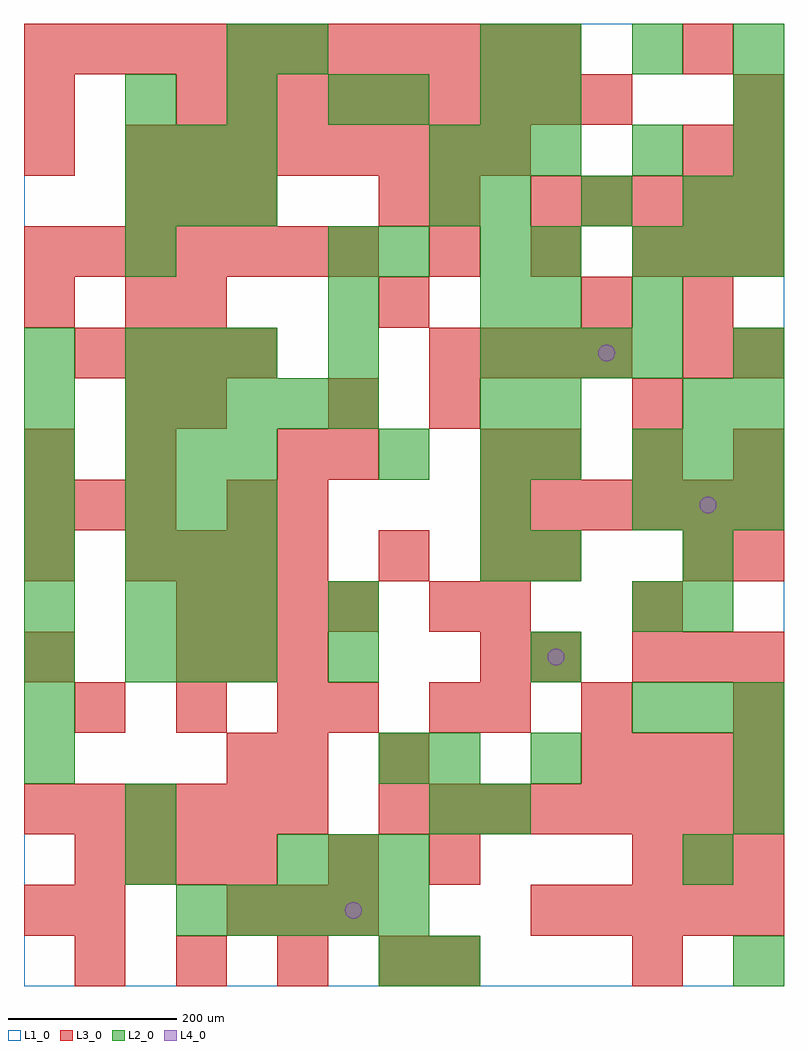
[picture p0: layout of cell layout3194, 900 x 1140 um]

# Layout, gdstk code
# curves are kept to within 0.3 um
import gdstk
lib = gdstk.Library(unit=1e-6, precision=1e-09)
def R(c, l, rs):  # rectangles x0, y0, x1, y1
    for r in rs: c.add(gdstk.rectangle(r[:2], r[2:], *l))
def A(c, l, x, y, w, h, nx, ny, dx, dy):  # array of equal rectangles
    R(c, l, [(x+i*dx, y+j*dy, x+i*dx+w, y+j*dy+h) for i in range(nx) for j in range(ny)])
def P(c, l, *ps):  # polygons
    for p in ps: c.add(gdstk.Polygon(p, *l))
L1_0 = (1, 0)
L2_0 = (2, 0)
L3_0 = (3, 0)
L4_0 = (4, 0)

layout3194 = lib.new_cell('layout3194')
R(layout3194, L1_0, [(0,0,900,1140)])
A(layout3194, L2_0, 180, 60, 60, 60, 5, 1, 60, 0)
A(layout3194, L2_0, 300, 120, 60, 60, 3, 1, 60, 0)
A(layout3194, L2_0, 0, 240, 60, 60, 1, 9, 0, 60)
A(layout3194, L2_0, 600, 240, 60, 60, 1, 4, 0, 120)
A(layout3194, L2_0, 720, 300, 60, 60, 3, 2, 60, 240)
A(layout3194, L2_0, 120, 360, 60, 60, 3, 5, 60, 60)
A(layout3194, L2_0, 540, 480, 60, 60, 1, 4, 0, 60)
A(layout3194, L2_0, 720, 600, 60, 60, 3, 2, 60, 240)
A(layout3194, L2_0, 120, 660, 60, 60, 5, 1, 60, 0)
A(layout3194, L2_0, 120, 720, 60, 60, 3, 2, 60, 180)
A(layout3194, L2_0, 360, 720, 60, 60, 1, 3, 0, 60)
A(layout3194, L2_0, 540, 720, 60, 60, 4, 1, 60, 0)
A(layout3194, L2_0, 540, 900, 60, 60, 3, 1, 120, 0)
A(layout3194, L2_0, 840, 900, 60, 60, 1, 3, 0, 60)
A(layout3194, L2_0, 120, 960, 60, 60, 3, 1, 60, 0)
A(layout3194, L2_0, 480, 960, 60, 60, 3, 1, 60, 0)
A(layout3194, L2_0, 120, 1020, 60, 60, 3, 1, 120, 0)
A(layout3194, L2_0, 600, 1080, 60, 60, 3, 1, 120, 0)
R(layout3194, L2_0, [(420,0,480,60), (480,0,540,60), (840,0,900,60), (120,120,180,180), (780,120,840,180), (120,180,180,240), (480,180,540,240), (540,180,600,240), (840,180,900,240), (420,240,480,300), (480,240,540,300), (840,240,900,300), (360,360,420,420), (360,420,420,480), (720,420,780,480), (780,420,840,480), (780,480,840,540), (420,600,480,660), (600,660,660,720), (780,660,840,720), (840,660,900,720), (840,720,900,780), (540,780,600,840), (600,780,660,840), (720,780,780,840), (120,840,180,900), (420,840,480,900), (540,840,600,900), (600,840,660,900), (480,900,540,960), (720,960,780,1020), (420,1020,480,1080), (540,1020,600,1080), (600,1020,660,1080), (240,1080,300,1140), (300,1080,360,1140), (540,1080,600,1140)])
A(layout3194, L3_0, 60, 0, 60, 60, 4, 1, 120, 0)
A(layout3194, L3_0, 240, 60, 60, 60, 3, 1, 60, 0)
A(layout3194, L3_0, 600, 60, 60, 60, 5, 2, 60, 840)
A(layout3194, L3_0, 60, 120, 60, 60, 4, 2, 60, 600)
A(layout3194, L3_0, 720, 120, 60, 60, 3, 2, 60, 240)
A(layout3194, L3_0, 0, 180, 60, 60, 6, 1, 60, 0)
A(layout3194, L3_0, 420, 180, 60, 60, 8, 1, 60, 0)
A(layout3194, L3_0, 660, 240, 60, 60, 4, 1, 60, 0)
A(layout3194, L3_0, 60, 300, 60, 60, 3, 1, 120, 0)
A(layout3194, L3_0, 540, 300, 60, 60, 1, 4, 0, 60)
A(layout3194, L3_0, 0, 360, 60, 60, 1, 3, 0, 120)
A(layout3194, L3_0, 180, 360, 60, 60, 3, 1, 60, 0)
A(layout3194, L3_0, 180, 420, 60, 60, 4, 1, 60, 0)
A(layout3194, L3_0, 480, 420, 60, 60, 1, 3, 0, 240)
A(layout3194, L3_0, 120, 480, 60, 60, 4, 1, 60, 0)
A(layout3194, L3_0, 0, 540, 60, 60, 3, 1, 60, 0)
A(layout3194, L3_0, 540, 540, 60, 60, 6, 1, 60, 0)
A(layout3194, L3_0, 600, 600, 60, 60, 3, 1, 120, 0)
A(layout3194, L3_0, 480, 720, 60, 60, 4, 1, 60, 0)
A(layout3194, L3_0, 780, 720, 60, 60, 1, 3, 0, 60)
A(layout3194, L3_0, 840, 720, 60, 60, 1, 3, 0, 120)
A(layout3194, L3_0, 180, 780, 60, 60, 3, 1, 240, 0)
A(layout3194, L3_0, 0, 840, 60, 60, 7, 1, 60, 0)
A(layout3194, L3_0, 480, 840, 60, 60, 3, 1, 120, 0)
A(layout3194, L3_0, 120, 900, 60, 60, 3, 1, 60, 0)
A(layout3194, L3_0, 120, 960, 60, 60, 8, 1, 60, 0)
A(layout3194, L3_0, 180, 1020, 60, 60, 9, 1, 60, 0)
A(layout3194, L3_0, 0, 1080, 60, 60, 11, 1, 60, 0)
R(layout3194, L3_0, [(480,0,540,60), (720,0,780,60), (0,60,60,120), (60,60,120,120), (360,120,420,180), (480,120,540,180), (240,240,300,300), (300,240,360,300), (420,240,480,300), (360,300,420,360), (480,300,540,360), (660,300,720,360), (840,300,900,360), (600,360,660,420), (720,420,780,480), (420,480,480,540), (600,480,660,540), (780,480,840,540), (840,480,900,540), (240,540,300,600), (300,540,360,600), (120,600,180,660), (300,600,360,660), (360,600,420,660), (540,600,600,660), (120,660,180,720), (180,660,240,720), (360,660,420,720), (720,660,780,720), (0,780,60,840), (120,780,180,840), (420,900,480,960), (0,960,60,1020), (780,960,840,1020), (0,1020,60,1080), (840,1020,900,1080), (780,1080,840,1140)])
P(layout3194, L4_0, [(400,90),(399.239,93.827),(397.071,97.071),(393.827,99.239),(390,100),(386.173,99.239),(382.929,97.071),(380.761,93.827),(380,90),(380.761,86.173),(382.929,82.929),(386.173,80.761),(390,80),(393.827,80.761),(397.071,82.929),(399.239,86.173)],
  [(640,390),(639.239,393.827),(637.071,397.071),(633.827,399.239),(630,400),(626.173,399.239),(622.929,397.071),(620.761,393.827),(620,390),(620.761,386.173),(622.929,382.929),(626.173,380.761),(630,380),(633.827,380.761),(637.071,382.929),(639.239,386.173)],
  [(700,750),(699.239,753.827),(697.071,757.071),(693.827,759.239),(690,760),(686.173,759.239),(682.929,757.071),(680.761,753.827),(680,750),(680.761,746.173),(682.929,742.929),(686.173,740.761),(690,740),(693.827,740.761),(697.071,742.929),(699.239,746.173)],
  [(820,570),(819.239,573.827),(817.071,577.071),(813.827,579.239),(810,580),(806.173,579.239),(802.929,577.071),(800.761,573.827),(800,570),(800.761,566.173),(802.929,562.929),(806.173,560.761),(810,560),(813.827,560.761),(817.071,562.929),(819.239,566.173)])

lib.write_gds('layout3194.gds')
